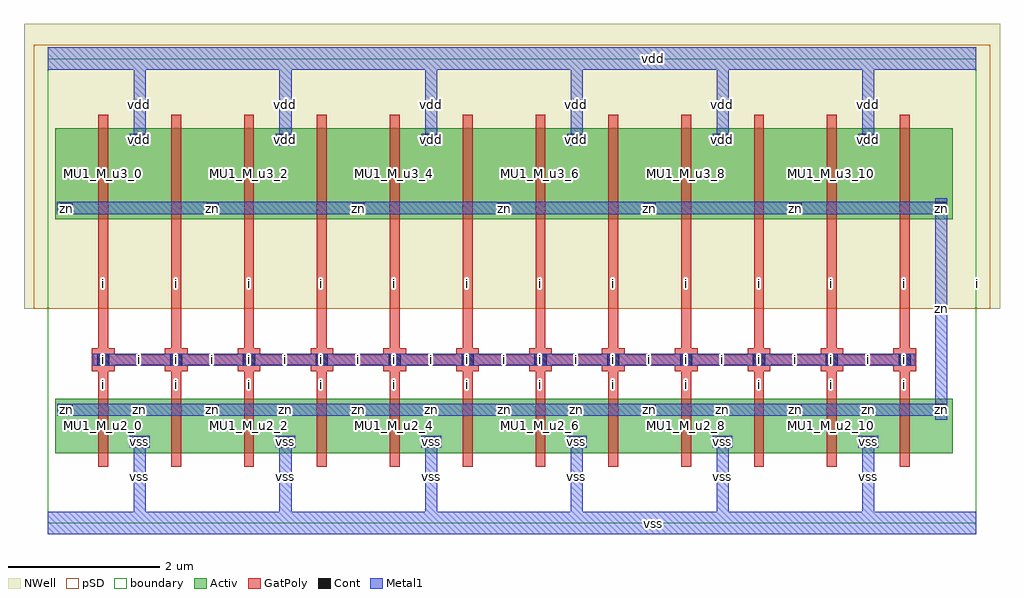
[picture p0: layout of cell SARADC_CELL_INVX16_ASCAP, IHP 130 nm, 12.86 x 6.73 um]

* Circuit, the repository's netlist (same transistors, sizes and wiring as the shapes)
** Cell name: SARADC_CELL_INVX16_ASCAP
** Lib name: sg13g2f
.SUBCKT SARADC_CELL_INVX16_ASCAP i vdd vss zn vnw vpw
*.PININFO i:I zn:O vdd:B vss:B 
MU1_M_u2_0 zn i vss vpw sg13_lv_nmos l=1.300e-07 w=7.200e-07 $pos=0 $flip=0
MU1_M_u2_1 zn i vss vpw sg13_lv_nmos l=1.300e-07 w=7.200e-07 $pos=1 $flip=1
MU1_M_u2_2 zn i vss vpw sg13_lv_nmos l=1.300e-07 w=7.200e-07 $pos=2 $flip=0
MU1_M_u2_3 zn i vss vpw sg13_lv_nmos l=1.300e-07 w=7.200e-07 $pos=3 $flip=1
MU1_M_u2_4 zn i vss vpw sg13_lv_nmos l=1.300e-07 w=7.200e-07 $pos=4 $flip=0
MU1_M_u2_5 zn i vss vpw sg13_lv_nmos l=1.300e-07 w=7.200e-07 $pos=5 $flip=1
MU1_M_u2_6 zn i vss vpw sg13_lv_nmos l=1.300e-07 w=7.200e-07 $pos=6 $flip=0
MU1_M_u2_7 zn i vss vpw sg13_lv_nmos l=1.300e-07 w=7.200e-07 $pos=7 $flip=1
MU1_M_u2_8 zn i vss vpw sg13_lv_nmos l=1.300e-07 w=7.200e-07 $pos=8 $flip=0
MU1_M_u2_9 zn i vss vpw sg13_lv_nmos l=1.300e-07 w=7.200e-07 $pos=9 $flip=1
MU1_M_u2_10 zn i vss vpw sg13_lv_nmos l=1.300e-07 w=7.200e-07 $pos=10 $flip=0
MU1_M_u2_11 zn i vss vpw sg13_lv_nmos l=1.300e-07 w=7.200e-07 $pos=11 $flip=1
MU1_M_u3_0 zn i vdd vnw sg13_lv_pmos l=1.300e-07 w=1.200e-06 $pos=0 $flip=0
MU1_M_u3_1 zn i vdd vnw sg13_lv_pmos l=1.300e-07 w=1.200e-06 $pos=1 $flip=1
MU1_M_u3_2 zn i vdd vnw sg13_lv_pmos l=1.300e-07 w=1.200e-06 $pos=2 $flip=0
MU1_M_u3_3 zn i vdd vnw sg13_lv_pmos l=1.300e-07 w=1.200e-06 $pos=3 $flip=1
MU1_M_u3_4 zn i vdd vnw sg13_lv_pmos l=1.300e-07 w=1.200e-06 $pos=4 $flip=0
MU1_M_u3_5 zn i vdd vnw sg13_lv_pmos l=1.300e-07 w=1.200e-06 $pos=5 $flip=1
MU1_M_u3_6 zn i vdd vnw sg13_lv_pmos l=1.300e-07 w=1.200e-06 $pos=6 $flip=0
MU1_M_u3_7 zn i vdd vnw sg13_lv_pmos l=1.300e-07 w=1.200e-06 $pos=7 $flip=1
MU1_M_u3_8 zn i vdd vnw sg13_lv_pmos l=1.300e-07 w=1.200e-06 $pos=8 $flip=0
MU1_M_u3_9 zn i vdd vnw sg13_lv_pmos l=1.300e-07 w=1.200e-06 $pos=9 $flip=1
MU1_M_u3_10 zn i vdd vnw sg13_lv_pmos l=1.300e-07 w=1.200e-06 $pos=10 $flip=0
MU1_M_u3_11 zn i vdd vnw sg13_lv_pmos l=1.300e-07 w=1.200e-06 $pos=11 $flip=1
.ENDS

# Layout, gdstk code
import gdstk
lib = gdstk.Library(unit=1e-6, precision=1e-09)
def R(c, l, rs):  # rectangles x0, y0, x1, y1
    for r in rs: c.add(gdstk.rectangle(r[:2], r[2:], *l))
def A(c, l, x, y, w, h, nx, ny, dx, dy):  # array of equal rectangles
    R(c, l, [(x+i*dx, y+j*dy, x+i*dx+w, y+j*dy+h) for i in range(nx) for j in range(ny)])
Activ = (1, 0)
GatPoly = (5, 0)
Cont = (6, 0)
Metal1 = (8, 0)
pSD = (14, 0)
NWell = (31, 0)
TEXT = (63, 0)
boundary = (189, 4)

saradc_cell_invx16_ascap = lib.new_cell('SARADC_CELL_INVX16_ASCAP')
A(saradc_cell_invx16_ascap, Activ, 0.105, 0.92, 1.26, 0.72, 12, 1, 0.96, 0)
A(saradc_cell_invx16_ascap, Activ, 1.065, 0.92, 0.3, 0.3, 6, 2, 1.92, 3.98)
A(saradc_cell_invx16_ascap, Activ, 0.105, 1.34, 0.3, 0.3, 7, 2, 1.92, 2.66)
A(saradc_cell_invx16_ascap, Activ, 0.105, 4, 1.26, 1.2, 12, 1, 0.96, 0)
R(saradc_cell_invx16_ascap, Activ, [(11.625,4,11.925,4.3)])
A(saradc_cell_invx16_ascap, GatPoly, 0.67, 0.74, 0.13, 1.08, 12, 1, 0.96, 0)
A(saradc_cell_invx16_ascap, GatPoly, 0.67, 1.425, 0.13, 0.79, 12, 1, 0.96, 0)
A(saradc_cell_invx16_ascap, GatPoly, 0.585, 2, 0.3, 0.3, 12, 1, 0.96, 0)
A(saradc_cell_invx16_ascap, GatPoly, 0.67, 2.085, 1.09, 0.13, 11, 1, 0.96, 0)
A(saradc_cell_invx16_ascap, GatPoly, 0.67, 2.085, 0.13, 2.13, 12, 1, 0.96, 0)
A(saradc_cell_invx16_ascap, GatPoly, 0.67, 3.82, 0.13, 1.56, 12, 1, 0.96, 0)
A(saradc_cell_invx16_ascap, Cont, 1.135, 0.99, 0.16, 0.16, 6, 2, 1.92, 3.98)
A(saradc_cell_invx16_ascap, Cont, 0.175, 1.41, 0.16, 0.16, 7, 2, 1.92, 2.66)
A(saradc_cell_invx16_ascap, Cont, 0.655, 2.07, 0.16, 0.16, 12, 1, 0.96, 0)
R(saradc_cell_invx16_ascap, Cont, [(11.695,4.07,11.855,4.23)])
A(saradc_cell_invx16_ascap, Metal1, 1.135, 0.07, 0.16, 1.08, 6, 2, 1.92, 4.9)
A(saradc_cell_invx16_ascap, Metal1, 1.085, 0.99, 0.26, 0.16, 6, 2, 1.92, 3.98)
A(saradc_cell_invx16_ascap, Metal1, 0.125, 1.41, 0.26, 0.16, 6, 2, 1.92, 2.66)
A(saradc_cell_invx16_ascap, Metal1, 0.175, 1.41, 2.08, 0.16, 6, 1, 1.92, 0)
A(saradc_cell_invx16_ascap, Metal1, 0.605, 2.07, 0.26, 0.16, 12, 1, 0.96, 0)
R(saradc_cell_invx16_ascap, Metal1, [(0,-0.15,12.24,0.15), (11.695,1.36,11.855,1.62), (11.695,1.41,11.855,4.23), (0.8,2.07,11.23,2.23), (11.695,4.02,11.855,4.28), (0.125,4.07,11.855,4.23), (0,5.97,12.24,6.27)])
R(saradc_cell_invx16_ascap, pSD, [(-0.18,2.82,12.42,5.94), (-0.18,5.94,12.42,6.3)])
R(saradc_cell_invx16_ascap, NWell, [(-0.31,2.82,12.55,6.58)])
R(saradc_cell_invx16_ascap, boundary, [(0,0,12.24,6.12)])
saradc_cell_invx16_ascap.add(gdstk.FlexPath([(0.105,0.41),(12.36,0.41)], 0, ends="flush", simple_path=True, layer=63, datatype=0))  # TEXT
saradc_cell_invx16_ascap.add(gdstk.FlexPath([(0.105,1.07),(12.36,1.07)], 0, ends="flush", simple_path=True, layer=63, datatype=0))  # TEXT
saradc_cell_invx16_ascap.add(gdstk.FlexPath([(0.105,1.49),(12.36,1.49)], 0, ends="flush", simple_path=True, layer=63, datatype=0))  # TEXT
saradc_cell_invx16_ascap.add(gdstk.FlexPath([(0.105,2.15),(12.36,2.15)], 0, ends="flush", simple_path=True, layer=63, datatype=0))  # TEXT
saradc_cell_invx16_ascap.add(gdstk.FlexPath([(0.105,2.63),(12.36,2.63)], 0, ends="flush", simple_path=True, layer=63, datatype=0))  # TEXT
saradc_cell_invx16_ascap.add(gdstk.FlexPath([(0.105,3.11),(12.36,3.11)], 0, ends="flush", simple_path=True, layer=63, datatype=0))  # TEXT
saradc_cell_invx16_ascap.add(gdstk.FlexPath([(0.105,4.15),(12.36,4.15)], 0, ends="flush", simple_path=True, layer=63, datatype=0))  # TEXT
saradc_cell_invx16_ascap.add(gdstk.FlexPath([(0.105,4.71),(12.36,4.71)], 0, ends="flush", simple_path=True, layer=63, datatype=0))  # TEXT
saradc_cell_invx16_ascap.add(gdstk.FlexPath([(0.105,5.05),(12.36,5.05)], 0, ends="flush", simple_path=True, layer=63, datatype=0))  # TEXT
saradc_cell_invx16_ascap.add(gdstk.FlexPath([(0.105,5.71),(12.36,5.71)], 0, ends="flush", simple_path=True, layer=63, datatype=0))  # TEXT
saradc_cell_invx16_ascap.add(gdstk.FlexPath([(0.255,0.07),(0.255,6.05)], 0, ends="flush", simple_path=True, layer=63, datatype=0))  # TEXT
saradc_cell_invx16_ascap.add(gdstk.FlexPath([(0.735,0.07),(0.735,6.05)], 0, ends="flush", simple_path=True, layer=63, datatype=0))  # TEXT
saradc_cell_invx16_ascap.add(gdstk.FlexPath([(1.215,0.07),(1.215,6.05)], 0, ends="flush", simple_path=True, layer=63, datatype=0))  # TEXT
saradc_cell_invx16_ascap.add(gdstk.FlexPath([(1.695,0.07),(1.695,6.05)], 0, ends="flush", simple_path=True, layer=63, datatype=0))  # TEXT
saradc_cell_invx16_ascap.add(gdstk.FlexPath([(2.175,0.07),(2.175,6.05)], 0, ends="flush", simple_path=True, layer=63, datatype=0))  # TEXT
saradc_cell_invx16_ascap.add(gdstk.FlexPath([(2.655,0.07),(2.655,6.05)], 0, ends="flush", simple_path=True, layer=63, datatype=0))  # TEXT
saradc_cell_invx16_ascap.add(gdstk.FlexPath([(3.135,0.07),(3.135,6.05)], 0, ends="flush", simple_path=True, layer=63, datatype=0))  # TEXT
saradc_cell_invx16_ascap.add(gdstk.FlexPath([(3.615,0.07),(3.615,6.05)], 0, ends="flush", simple_path=True, layer=63, datatype=0))  # TEXT
saradc_cell_invx16_ascap.add(gdstk.FlexPath([(4.095,0.07),(4.095,6.05)], 0, ends="flush", simple_path=True, layer=63, datatype=0))  # TEXT
saradc_cell_invx16_ascap.add(gdstk.FlexPath([(4.575,0.07),(4.575,6.05)], 0, ends="flush", simple_path=True, layer=63, datatype=0))  # TEXT
saradc_cell_invx16_ascap.add(gdstk.FlexPath([(5.055,0.07),(5.055,6.05)], 0, ends="flush", simple_path=True, layer=63, datatype=0))  # TEXT
saradc_cell_invx16_ascap.add(gdstk.FlexPath([(5.535,0.07),(5.535,6.05)], 0, ends="flush", simple_path=True, layer=63, datatype=0))  # TEXT
saradc_cell_invx16_ascap.add(gdstk.FlexPath([(6.015,0.07),(6.015,6.05)], 0, ends="flush", simple_path=True, layer=63, datatype=0))  # TEXT
saradc_cell_invx16_ascap.add(gdstk.FlexPath([(6.495,0.07),(6.495,6.05)], 0, ends="flush", simple_path=True, layer=63, datatype=0))  # TEXT
saradc_cell_invx16_ascap.add(gdstk.FlexPath([(6.975,0.07),(6.975,6.05)], 0, ends="flush", simple_path=True, layer=63, datatype=0))  # TEXT
saradc_cell_invx16_ascap.add(gdstk.FlexPath([(7.455,0.07),(7.455,6.05)], 0, ends="flush", simple_path=True, layer=63, datatype=0))  # TEXT
saradc_cell_invx16_ascap.add(gdstk.FlexPath([(7.935,0.07),(7.935,6.05)], 0, ends="flush", simple_path=True, layer=63, datatype=0))  # TEXT
saradc_cell_invx16_ascap.add(gdstk.FlexPath([(8.415,0.07),(8.415,6.05)], 0, ends="flush", simple_path=True, layer=63, datatype=0))  # TEXT
saradc_cell_invx16_ascap.add(gdstk.FlexPath([(8.895,0.07),(8.895,6.05)], 0, ends="flush", simple_path=True, layer=63, datatype=0))  # TEXT
saradc_cell_invx16_ascap.add(gdstk.FlexPath([(9.375,0.07),(9.375,6.05)], 0, ends="flush", simple_path=True, layer=63, datatype=0))  # TEXT
saradc_cell_invx16_ascap.add(gdstk.FlexPath([(9.855,0.07),(9.855,6.05)], 0, ends="flush", simple_path=True, layer=63, datatype=0))  # TEXT
saradc_cell_invx16_ascap.add(gdstk.FlexPath([(10.335,0.07),(10.335,6.05)], 0, ends="flush", simple_path=True, layer=63, datatype=0))  # TEXT
saradc_cell_invx16_ascap.add(gdstk.FlexPath([(10.815,0.07),(10.815,6.05)], 0, ends="flush", simple_path=True, layer=63, datatype=0))  # TEXT
saradc_cell_invx16_ascap.add(gdstk.FlexPath([(11.295,0.07),(11.295,6.05)], 0, ends="flush", simple_path=True, layer=63, datatype=0))  # TEXT
saradc_cell_invx16_ascap.add(gdstk.FlexPath([(11.775,0.07),(11.775,6.05)], 0, ends="flush", simple_path=True, layer=63, datatype=0))  # TEXT
saradc_cell_invx16_ascap.add(gdstk.Label('zn', (11.775,4.15), layer=1, texttype=0))
saradc_cell_invx16_ascap.add(gdstk.Label('zn', (11.775,1.49), layer=1, texttype=0))
saradc_cell_invx16_ascap.add(gdstk.Label('MU1_M_u2_0', (0.735,1.28), layer=1, texttype=0))
saradc_cell_invx16_ascap.add(gdstk.Label('MU1_M_u2_1', (1.695,1.28), layer=1, texttype=0))
saradc_cell_invx16_ascap.add(gdstk.Label('MU1_M_u2_2', (2.655,1.28), layer=1, texttype=0))
saradc_cell_invx16_ascap.add(gdstk.Label('MU1_M_u2_3', (3.615,1.28), layer=1, texttype=0))
saradc_cell_invx16_ascap.add(gdstk.Label('MU1_M_u2_4', (4.575,1.28), layer=1, texttype=0))
saradc_cell_invx16_ascap.add(gdstk.Label('MU1_M_u2_5', (5.535,1.28), layer=1, texttype=0))
saradc_cell_invx16_ascap.add(gdstk.Label('MU1_M_u2_6', (6.495,1.28), layer=1, texttype=0))
saradc_cell_invx16_ascap.add(gdstk.Label('MU1_M_u2_7', (7.455,1.28), layer=1, texttype=0))
saradc_cell_invx16_ascap.add(gdstk.Label('MU1_M_u2_8', (8.415,1.28), layer=1, texttype=0))
saradc_cell_invx16_ascap.add(gdstk.Label('MU1_M_u2_9', (9.375,1.28), layer=1, texttype=0))
saradc_cell_invx16_ascap.add(gdstk.Label('MU1_M_u2_10', (10.335,1.28), layer=1, texttype=0))
saradc_cell_invx16_ascap.add(gdstk.Label('MU1_M_u2_11', (11.295,1.28), layer=1, texttype=0))
saradc_cell_invx16_ascap.add(gdstk.Label('MU1_M_u3_0', (0.735,4.6), layer=1, texttype=0))
saradc_cell_invx16_ascap.add(gdstk.Label('MU1_M_u3_1', (1.695,4.6), layer=1, texttype=0))
saradc_cell_invx16_ascap.add(gdstk.Label('MU1_M_u3_2', (2.655,4.6), layer=1, texttype=0))
saradc_cell_invx16_ascap.add(gdstk.Label('MU1_M_u3_3', (3.615,4.6), layer=1, texttype=0))
saradc_cell_invx16_ascap.add(gdstk.Label('MU1_M_u3_4', (4.575,4.6), layer=1, texttype=0))
saradc_cell_invx16_ascap.add(gdstk.Label('MU1_M_u3_5', (5.535,4.6), layer=1, texttype=0))
saradc_cell_invx16_ascap.add(gdstk.Label('MU1_M_u3_6', (6.495,4.6), layer=1, texttype=0))
saradc_cell_invx16_ascap.add(gdstk.Label('MU1_M_u3_7', (7.455,4.6), layer=1, texttype=0))
saradc_cell_invx16_ascap.add(gdstk.Label('MU1_M_u3_8', (8.415,4.6), layer=1, texttype=0))
saradc_cell_invx16_ascap.add(gdstk.Label('MU1_M_u3_9', (9.375,4.6), layer=1, texttype=0))
saradc_cell_invx16_ascap.add(gdstk.Label('MU1_M_u3_10', (10.335,4.6), layer=1, texttype=0))
saradc_cell_invx16_ascap.add(gdstk.Label('MU1_M_u3_11', (11.295,4.6), layer=1, texttype=0))
saradc_cell_invx16_ascap.add(gdstk.Label('zn', (0.255,1.49), layer=1, texttype=0))
saradc_cell_invx16_ascap.add(gdstk.Label('zn', (2.175,1.49), layer=1, texttype=0))
saradc_cell_invx16_ascap.add(gdstk.Label('zn', (4.095,1.49), layer=1, texttype=0))
saradc_cell_invx16_ascap.add(gdstk.Label('zn', (6.015,1.49), layer=1, texttype=0))
saradc_cell_invx16_ascap.add(gdstk.Label('zn', (7.935,1.49), layer=1, texttype=0))
saradc_cell_invx16_ascap.add(gdstk.Label('zn', (9.855,1.49), layer=1, texttype=0))
saradc_cell_invx16_ascap.add(gdstk.Label('zn', (0.255,4.15), layer=1, texttype=0))
saradc_cell_invx16_ascap.add(gdstk.Label('zn', (2.175,4.15), layer=1, texttype=0))
saradc_cell_invx16_ascap.add(gdstk.Label('zn', (4.095,4.15), layer=1, texttype=0))
saradc_cell_invx16_ascap.add(gdstk.Label('zn', (6.015,4.15), layer=1, texttype=0))
saradc_cell_invx16_ascap.add(gdstk.Label('zn', (7.935,4.15), layer=1, texttype=0))
saradc_cell_invx16_ascap.add(gdstk.Label('zn', (9.855,4.15), layer=1, texttype=0))
saradc_cell_invx16_ascap.add(gdstk.Label('zn', (11.775,4.15), layer=1, texttype=0))
saradc_cell_invx16_ascap.add(gdstk.Label('vss', (1.215,1.07), layer=1, texttype=0))
saradc_cell_invx16_ascap.add(gdstk.Label('vss', (3.135,1.07), layer=1, texttype=0))
saradc_cell_invx16_ascap.add(gdstk.Label('vss', (5.055,1.07), layer=1, texttype=0))
saradc_cell_invx16_ascap.add(gdstk.Label('vss', (6.975,1.07), layer=1, texttype=0))
saradc_cell_invx16_ascap.add(gdstk.Label('vss', (8.895,1.07), layer=1, texttype=0))
saradc_cell_invx16_ascap.add(gdstk.Label('vss', (10.815,1.07), layer=1, texttype=0))
saradc_cell_invx16_ascap.add(gdstk.Label('vdd', (1.215,5.05), layer=1, texttype=0))
saradc_cell_invx16_ascap.add(gdstk.Label('vdd', (3.135,5.05), layer=1, texttype=0))
saradc_cell_invx16_ascap.add(gdstk.Label('vdd', (5.055,5.05), layer=1, texttype=0))
saradc_cell_invx16_ascap.add(gdstk.Label('vdd', (6.975,5.05), layer=1, texttype=0))
saradc_cell_invx16_ascap.add(gdstk.Label('vdd', (8.895,5.05), layer=1, texttype=0))
saradc_cell_invx16_ascap.add(gdstk.Label('vdd', (10.815,5.05), layer=1, texttype=0))
saradc_cell_invx16_ascap.add(gdstk.Label('i', (11.295,2.15), layer=5, texttype=0))
saradc_cell_invx16_ascap.add(gdstk.Label('i', (0.735,2.15), layer=5, texttype=0))
saradc_cell_invx16_ascap.add(gdstk.Label('i', (1.695,2.15), layer=5, texttype=0))
saradc_cell_invx16_ascap.add(gdstk.Label('i', (2.655,2.15), layer=5, texttype=0))
saradc_cell_invx16_ascap.add(gdstk.Label('i', (3.615,2.15), layer=5, texttype=0))
saradc_cell_invx16_ascap.add(gdstk.Label('i', (4.575,2.15), layer=5, texttype=0))
saradc_cell_invx16_ascap.add(gdstk.Label('i', (5.535,2.15), layer=5, texttype=0))
saradc_cell_invx16_ascap.add(gdstk.Label('i', (6.495,2.15), layer=5, texttype=0))
saradc_cell_invx16_ascap.add(gdstk.Label('i', (7.455,2.15), layer=5, texttype=0))
saradc_cell_invx16_ascap.add(gdstk.Label('i', (8.415,2.15), layer=5, texttype=0))
saradc_cell_invx16_ascap.add(gdstk.Label('i', (9.375,2.15), layer=5, texttype=0))
saradc_cell_invx16_ascap.add(gdstk.Label('i', (10.335,2.15), layer=5, texttype=0))
saradc_cell_invx16_ascap.add(gdstk.Label('i', (0.735,1.82), layer=5, texttype=0))
saradc_cell_invx16_ascap.add(gdstk.Label('i', (1.215,2.15), layer=5, texttype=0))
saradc_cell_invx16_ascap.add(gdstk.Label('i', (1.695,1.82), layer=5, texttype=0))
saradc_cell_invx16_ascap.add(gdstk.Label('i', (2.175,2.15), layer=5, texttype=0))
saradc_cell_invx16_ascap.add(gdstk.Label('i', (2.655,1.82), layer=5, texttype=0))
saradc_cell_invx16_ascap.add(gdstk.Label('i', (3.135,2.15), layer=5, texttype=0))
saradc_cell_invx16_ascap.add(gdstk.Label('i', (3.615,1.82), layer=5, texttype=0))
saradc_cell_invx16_ascap.add(gdstk.Label('i', (4.095,2.15), layer=5, texttype=0))
saradc_cell_invx16_ascap.add(gdstk.Label('i', (4.575,1.82), layer=5, texttype=0))
saradc_cell_invx16_ascap.add(gdstk.Label('i', (5.055,2.15), layer=5, texttype=0))
saradc_cell_invx16_ascap.add(gdstk.Label('i', (5.535,1.82), layer=5, texttype=0))
saradc_cell_invx16_ascap.add(gdstk.Label('i', (6.015,2.15), layer=5, texttype=0))
saradc_cell_invx16_ascap.add(gdstk.Label('i', (6.495,1.82), layer=5, texttype=0))
saradc_cell_invx16_ascap.add(gdstk.Label('i', (6.975,2.15), layer=5, texttype=0))
saradc_cell_invx16_ascap.add(gdstk.Label('i', (7.455,1.82), layer=5, texttype=0))
saradc_cell_invx16_ascap.add(gdstk.Label('i', (7.935,2.15), layer=5, texttype=0))
saradc_cell_invx16_ascap.add(gdstk.Label('i', (8.415,1.82), layer=5, texttype=0))
saradc_cell_invx16_ascap.add(gdstk.Label('i', (8.895,2.15), layer=5, texttype=0))
saradc_cell_invx16_ascap.add(gdstk.Label('i', (9.375,1.82), layer=5, texttype=0))
saradc_cell_invx16_ascap.add(gdstk.Label('i', (9.855,2.15), layer=5, texttype=0))
saradc_cell_invx16_ascap.add(gdstk.Label('i', (10.335,1.82), layer=5, texttype=0))
saradc_cell_invx16_ascap.add(gdstk.Label('i', (10.815,2.15), layer=5, texttype=0))
saradc_cell_invx16_ascap.add(gdstk.Label('i', (11.295,1.82), layer=5, texttype=0))
saradc_cell_invx16_ascap.add(gdstk.Label('i', (0.735,3.15), layer=5, texttype=0))
saradc_cell_invx16_ascap.add(gdstk.Label('i', (1.695,3.15), layer=5, texttype=0))
saradc_cell_invx16_ascap.add(gdstk.Label('i', (2.655,3.15), layer=5, texttype=0))
saradc_cell_invx16_ascap.add(gdstk.Label('i', (3.615,3.15), layer=5, texttype=0))
saradc_cell_invx16_ascap.add(gdstk.Label('i', (4.575,3.15), layer=5, texttype=0))
saradc_cell_invx16_ascap.add(gdstk.Label('i', (5.535,3.15), layer=5, texttype=0))
saradc_cell_invx16_ascap.add(gdstk.Label('i', (6.495,3.15), layer=5, texttype=0))
saradc_cell_invx16_ascap.add(gdstk.Label('i', (7.455,3.15), layer=5, texttype=0))
saradc_cell_invx16_ascap.add(gdstk.Label('i', (8.415,3.15), layer=5, texttype=0))
saradc_cell_invx16_ascap.add(gdstk.Label('i', (9.375,3.15), layer=5, texttype=0))
saradc_cell_invx16_ascap.add(gdstk.Label('i', (10.335,3.15), layer=5, texttype=0))
saradc_cell_invx16_ascap.add(gdstk.Label('i', (11.295,3.15), layer=5, texttype=0))
saradc_cell_invx16_ascap.add(gdstk.Label('i', (12.255,3.15), layer=5, texttype=0))
saradc_cell_invx16_ascap.add(gdstk.Label('i', (0.735,2.15), layer=5, texttype=0))
saradc_cell_invx16_ascap.add(gdstk.Label('i', (11.295,2.15), layer=6, texttype=0))
saradc_cell_invx16_ascap.add(gdstk.Label('i', (0.735,2.15), layer=6, texttype=0))
saradc_cell_invx16_ascap.add(gdstk.Label('zn', (11.775,4.15), layer=6, texttype=0))
saradc_cell_invx16_ascap.add(gdstk.Label('zn', (11.775,1.49), layer=6, texttype=0))
saradc_cell_invx16_ascap.add(gdstk.Label('i', (1.695,2.15), layer=6, texttype=0))
saradc_cell_invx16_ascap.add(gdstk.Label('i', (2.655,2.15), layer=6, texttype=0))
saradc_cell_invx16_ascap.add(gdstk.Label('i', (3.615,2.15), layer=6, texttype=0))
saradc_cell_invx16_ascap.add(gdstk.Label('i', (4.575,2.15), layer=6, texttype=0))
saradc_cell_invx16_ascap.add(gdstk.Label('i', (5.535,2.15), layer=6, texttype=0))
saradc_cell_invx16_ascap.add(gdstk.Label('i', (6.495,2.15), layer=6, texttype=0))
saradc_cell_invx16_ascap.add(gdstk.Label('i', (7.455,2.15), layer=6, texttype=0))
saradc_cell_invx16_ascap.add(gdstk.Label('i', (8.415,2.15), layer=6, texttype=0))
saradc_cell_invx16_ascap.add(gdstk.Label('i', (9.375,2.15), layer=6, texttype=0))
saradc_cell_invx16_ascap.add(gdstk.Label('i', (10.335,2.15), layer=6, texttype=0))
saradc_cell_invx16_ascap.add(gdstk.Label('zn', (0.255,1.49), layer=6, texttype=0))
saradc_cell_invx16_ascap.add(gdstk.Label('zn', (2.175,1.49), layer=6, texttype=0))
saradc_cell_invx16_ascap.add(gdstk.Label('zn', (4.095,1.49), layer=6, texttype=0))
saradc_cell_invx16_ascap.add(gdstk.Label('zn', (6.015,1.49), layer=6, texttype=0))
saradc_cell_invx16_ascap.add(gdstk.Label('zn', (7.935,1.49), layer=6, texttype=0))
saradc_cell_invx16_ascap.add(gdstk.Label('zn', (9.855,1.49), layer=6, texttype=0))
saradc_cell_invx16_ascap.add(gdstk.Label('zn', (0.255,4.15), layer=6, texttype=0))
saradc_cell_invx16_ascap.add(gdstk.Label('zn', (2.175,4.15), layer=6, texttype=0))
saradc_cell_invx16_ascap.add(gdstk.Label('zn', (4.095,4.15), layer=6, texttype=0))
saradc_cell_invx16_ascap.add(gdstk.Label('zn', (6.015,4.15), layer=6, texttype=0))
saradc_cell_invx16_ascap.add(gdstk.Label('zn', (7.935,4.15), layer=6, texttype=0))
saradc_cell_invx16_ascap.add(gdstk.Label('zn', (9.855,4.15), layer=6, texttype=0))
saradc_cell_invx16_ascap.add(gdstk.Label('zn', (11.775,4.15), layer=6, texttype=0))
saradc_cell_invx16_ascap.add(gdstk.Label('vss', (1.215,1.07), layer=6, texttype=0))
saradc_cell_invx16_ascap.add(gdstk.Label('vss', (3.135,1.07), layer=6, texttype=0))
saradc_cell_invx16_ascap.add(gdstk.Label('vss', (5.055,1.07), layer=6, texttype=0))
saradc_cell_invx16_ascap.add(gdstk.Label('vss', (6.975,1.07), layer=6, texttype=0))
saradc_cell_invx16_ascap.add(gdstk.Label('vss', (8.895,1.07), layer=6, texttype=0))
saradc_cell_invx16_ascap.add(gdstk.Label('vss', (10.815,1.07), layer=6, texttype=0))
saradc_cell_invx16_ascap.add(gdstk.Label('vdd', (1.215,5.05), layer=6, texttype=0))
saradc_cell_invx16_ascap.add(gdstk.Label('vdd', (3.135,5.05), layer=6, texttype=0))
saradc_cell_invx16_ascap.add(gdstk.Label('vdd', (5.055,5.05), layer=6, texttype=0))
saradc_cell_invx16_ascap.add(gdstk.Label('vdd', (6.975,5.05), layer=6, texttype=0))
saradc_cell_invx16_ascap.add(gdstk.Label('vdd', (8.895,5.05), layer=6, texttype=0))
saradc_cell_invx16_ascap.add(gdstk.Label('vdd', (10.815,5.05), layer=6, texttype=0))
saradc_cell_invx16_ascap.add(gdstk.Label('vss', (1.215,1.07), layer=8, texttype=0))
saradc_cell_invx16_ascap.add(gdstk.Label('vss', (1.215,0.61), layer=8, texttype=0))
saradc_cell_invx16_ascap.add(gdstk.Label('vss', (3.135,1.07), layer=8, texttype=0))
saradc_cell_invx16_ascap.add(gdstk.Label('vss', (3.135,0.61), layer=8, texttype=0))
saradc_cell_invx16_ascap.add(gdstk.Label('vss', (5.055,1.07), layer=8, texttype=0))
saradc_cell_invx16_ascap.add(gdstk.Label('vss', (5.055,0.61), layer=8, texttype=0))
saradc_cell_invx16_ascap.add(gdstk.Label('vss', (6.975,1.07), layer=8, texttype=0))
saradc_cell_invx16_ascap.add(gdstk.Label('vss', (6.975,0.61), layer=8, texttype=0))
saradc_cell_invx16_ascap.add(gdstk.Label('vss', (8.895,1.07), layer=8, texttype=0))
saradc_cell_invx16_ascap.add(gdstk.Label('vss', (8.895,0.61), layer=8, texttype=0))
saradc_cell_invx16_ascap.add(gdstk.Label('vss', (10.815,1.07), layer=8, texttype=0))
saradc_cell_invx16_ascap.add(gdstk.Label('vss', (10.815,0.61), layer=8, texttype=0))
saradc_cell_invx16_ascap.add(gdstk.Label('vdd', (1.215,5.05), layer=8, texttype=0))
saradc_cell_invx16_ascap.add(gdstk.Label('vdd', (1.215,5.51), layer=8, texttype=0))
saradc_cell_invx16_ascap.add(gdstk.Label('vdd', (3.135,5.05), layer=8, texttype=0))
saradc_cell_invx16_ascap.add(gdstk.Label('vdd', (3.135,5.51), layer=8, texttype=0))
saradc_cell_invx16_ascap.add(gdstk.Label('vdd', (5.055,5.05), layer=8, texttype=0))
saradc_cell_invx16_ascap.add(gdstk.Label('vdd', (5.055,5.51), layer=8, texttype=0))
saradc_cell_invx16_ascap.add(gdstk.Label('vdd', (6.975,5.05), layer=8, texttype=0))
saradc_cell_invx16_ascap.add(gdstk.Label('vdd', (6.975,5.51), layer=8, texttype=0))
saradc_cell_invx16_ascap.add(gdstk.Label('vdd', (8.895,5.05), layer=8, texttype=0))
saradc_cell_invx16_ascap.add(gdstk.Label('vdd', (8.895,5.51), layer=8, texttype=0))
saradc_cell_invx16_ascap.add(gdstk.Label('vdd', (10.815,5.05), layer=8, texttype=0))
saradc_cell_invx16_ascap.add(gdstk.Label('vdd', (10.815,5.51), layer=8, texttype=0))
saradc_cell_invx16_ascap.add(gdstk.Label('i', (11.295,2.15), layer=8, texttype=2))
saradc_cell_invx16_ascap.add(gdstk.Label('i', (0.735,2.15), layer=8, texttype=2))
saradc_cell_invx16_ascap.add(gdstk.Label('zn', (11.775,4.15), layer=8, texttype=2))
saradc_cell_invx16_ascap.add(gdstk.Label('zn', (11.775,2.82), layer=8, texttype=2))
saradc_cell_invx16_ascap.add(gdstk.Label('zn', (11.775,1.49), layer=8, texttype=2))
saradc_cell_invx16_ascap.add(gdstk.Label('i', (1.695,2.15), layer=8, texttype=2))
saradc_cell_invx16_ascap.add(gdstk.Label('i', (3.615,2.15), layer=8, texttype=2))
saradc_cell_invx16_ascap.add(gdstk.Label('i', (2.655,2.15), layer=8, texttype=2))
saradc_cell_invx16_ascap.add(gdstk.Label('i', (4.575,2.15), layer=8, texttype=2))
saradc_cell_invx16_ascap.add(gdstk.Label('i', (5.535,2.15), layer=8, texttype=2))
saradc_cell_invx16_ascap.add(gdstk.Label('i', (6.495,2.15), layer=8, texttype=2))
saradc_cell_invx16_ascap.add(gdstk.Label('i', (7.455,2.15), layer=8, texttype=2))
saradc_cell_invx16_ascap.add(gdstk.Label('i', (8.415,2.15), layer=8, texttype=2))
saradc_cell_invx16_ascap.add(gdstk.Label('i', (9.375,2.15), layer=8, texttype=2))
saradc_cell_invx16_ascap.add(gdstk.Label('i', (10.335,2.15), layer=8, texttype=2))
saradc_cell_invx16_ascap.add(gdstk.Label('zn', (0.255,1.49), layer=8, texttype=2))
saradc_cell_invx16_ascap.add(gdstk.Label('zn', (2.175,1.49), layer=8, texttype=2))
saradc_cell_invx16_ascap.add(gdstk.Label('zn', (4.095,1.49), layer=8, texttype=2))
saradc_cell_invx16_ascap.add(gdstk.Label('zn', (6.015,1.49), layer=8, texttype=2))
saradc_cell_invx16_ascap.add(gdstk.Label('zn', (7.935,1.49), layer=8, texttype=2))
saradc_cell_invx16_ascap.add(gdstk.Label('zn', (9.855,1.49), layer=8, texttype=2))
saradc_cell_invx16_ascap.add(gdstk.Label('zn', (0.255,4.15), layer=8, texttype=2))
saradc_cell_invx16_ascap.add(gdstk.Label('zn', (2.175,4.15), layer=8, texttype=2))
saradc_cell_invx16_ascap.add(gdstk.Label('zn', (4.095,4.15), layer=8, texttype=2))
saradc_cell_invx16_ascap.add(gdstk.Label('zn', (6.015,4.15), layer=8, texttype=2))
saradc_cell_invx16_ascap.add(gdstk.Label('zn', (7.935,4.15), layer=8, texttype=2))
saradc_cell_invx16_ascap.add(gdstk.Label('zn', (9.855,4.15), layer=8, texttype=2))
saradc_cell_invx16_ascap.add(gdstk.Label('zn', (1.215,1.49), layer=8, texttype=2))
saradc_cell_invx16_ascap.add(gdstk.Label('zn', (3.135,1.49), layer=8, texttype=2))
saradc_cell_invx16_ascap.add(gdstk.Label('zn', (5.055,1.49), layer=8, texttype=2))
saradc_cell_invx16_ascap.add(gdstk.Label('zn', (6.975,1.49), layer=8, texttype=2))
saradc_cell_invx16_ascap.add(gdstk.Label('zn', (8.895,1.49), layer=8, texttype=2))
saradc_cell_invx16_ascap.add(gdstk.Label('zn', (10.815,1.49), layer=8, texttype=2))
saradc_cell_invx16_ascap.add(gdstk.Label('vss', (7.99,0), layer=8, texttype=2))
saradc_cell_invx16_ascap.add(gdstk.Label('vdd', (7.99,6.12), layer=8, texttype=2))

lib.write_gds('SARADC_CELL_INVX16_ASCAP.gds')
